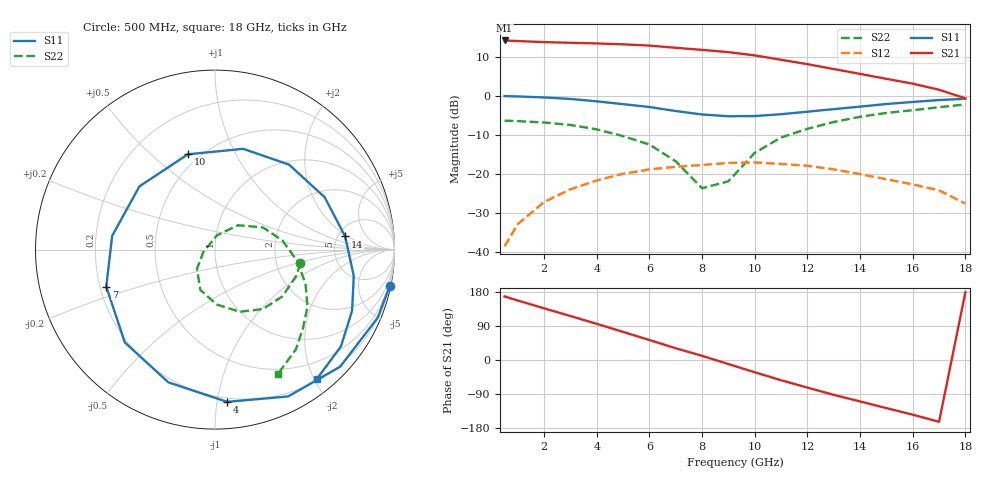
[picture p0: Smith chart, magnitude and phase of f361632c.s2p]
!ATF-36163
!2V 20mA
! last updated 11-10-95
# ghz s ma r 50
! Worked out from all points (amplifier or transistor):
!   19 points, 500 MHz to 18 GHz, reference 50 ohm
!   highest |S21| = 14.2 dB at 500 MHz (marker M1)
!   |S21| within 3 dB of that: start of sweep to 9.017 GHz
!   unconditionally stable (mu >= 1): 10.22 GHz to end of sweep
!   at 3 GHz: K = 0.36, MSG = 18.7 dB, |S12| = -23.9 dB
!   at 9 GHz: K = 0.93, MSG = 14.2 dB, |S12| = -17.1 dB
!   at 18 GHz: K = 1.42, MAG = 9.6 dB, |S12| = -27.5 dB
!   lowest NFmin = 0.52 dB at 2 GHz
!   S11 on the Smith chart (normalised r, x): 500 MHz: 0.29, -9.72; 4 GHz: 0.17, -1.07; 7 GHz: 0.23, -0.16; 10 GHz: 0.43, +0.66; 14 GHz: 5.80, +1.81; 18 GHz: 0.22, -2.03
0.5  0.994 -11.7  5.108 167.7  0.012 79.2  0.482 -9.1
1  0.983 -22.7  5.019 157.0  0.023 71.5  0.476 -17.9
2  0.955 -43.1  4.867 136.3  0.044 56.0  0.457 -34.8
3  0.914 -63.5  4.768 116.0  0.064 40.7  0.425 -51.2
4  0.851 -85.4  4.68 95.4  0.083 24.4  0.373 -68.2
5  0.784 -109.3  4.557 74.1  0.101 7.2  0.306 -88.3
6  0.721 -134.2  4.393 52.7  0.115 -9.5  0.239 -110.0
7  0.64 -161.2  4.116 31.0  0.124 -26.9  0.146 -133.3
8  0.578 172.4  3.873 11.0  0.131 -39.9  0.066 -169.0
9  0.549 140.1  3.622 -10.8  0.139 -54.6  0.081 81.8
10  0.552 105.9  3.29 -32.3  0.141 -69.7  0.187 46.5
11  0.583 74.4  2.894 -53.3  0.135 -84.2  0.294 24.8
12  0.628 48.9  2.544 -72.9  0.128 -96.7  0.379 7.7
13  0.677 25.5  2.203 -92.0  0.115 -109.0  0.464 -8.1
14  0.729 5.7  1.909 -109.3  0.1 -117.8  0.54 -20.9
15  0.787 -10.8  1.651 -126.9  0.086 -126.2  0.606 -31.8
16  0.836 -23.9  1.433 -144.3  0.074 -132.0  0.656 -41.6
17  0.885 -37.5  1.198 -163.1  0.062 -139.9  0.716 -51.0
18  0.918 -51.9  0.93 178.8  0.042 -146.8  0.778 -63.4
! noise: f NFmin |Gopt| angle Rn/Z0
2  0.52  0.826  28.08  0.393
3  0.57  0.746  41.9  0.323
5  0.66  0.591  72.65  0.2
7  0.76  0.46  105.7  0.115
9  0.88  0.299  140.4  0.077
10  0.94  0.199  174.5  0.079
12  1.09  0.201  -79.72  0.149
14  1.28  0.38  -12.57  0.356
16  1.52  0.613  20.98  0.658
18  1.85  0.758  52.86  1.215
